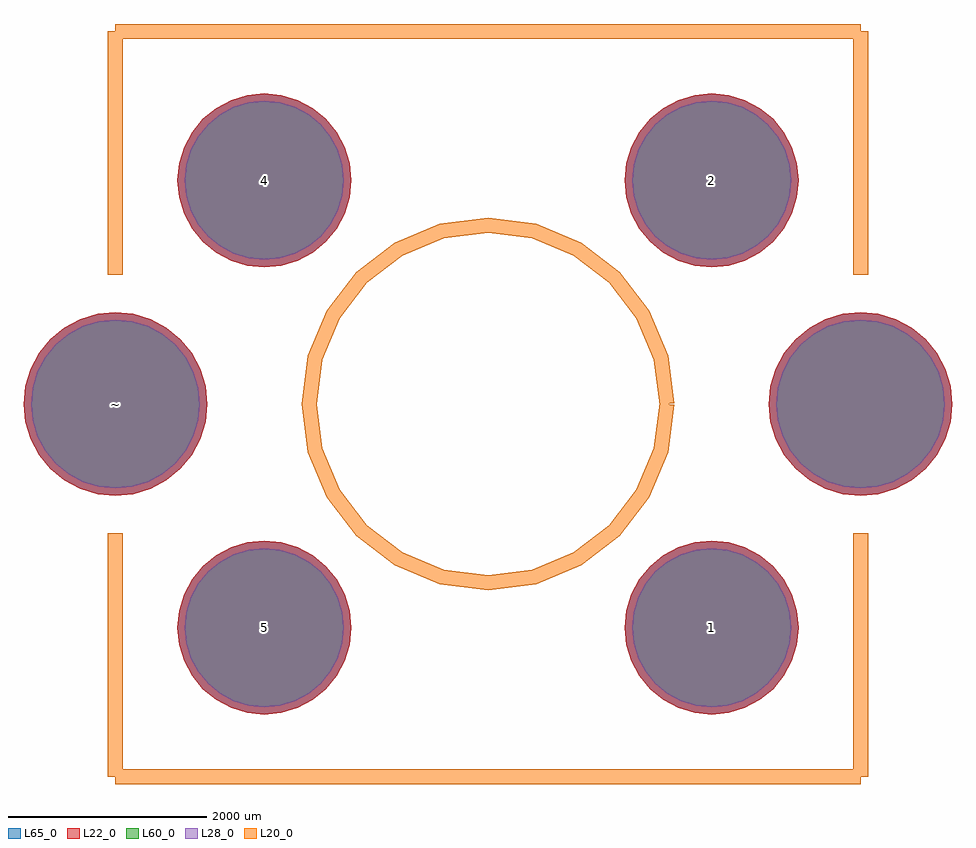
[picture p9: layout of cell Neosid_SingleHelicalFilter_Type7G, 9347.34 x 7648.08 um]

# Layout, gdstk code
import gdstk
lib = gdstk.Library(unit=1e-6, precision=1e-09)
def P(c, l, *ps):  # polygons
    for p in ps: c.add(gdstk.Polygon(p, *l))
L20_0 = (20, 0)
L22_0 = (22, 0)
L28_0 = (28, 0)
L60_0 = (60, 0)
L65_0 = (65, 0)

neosid_singlehelicalfilt = lib.new_cell('Neosid_SingleHelicalFilter_Type7G')
P(neosid_singlehelicalfilt, L22_0, [(4673.67,0),(4655.903,180.386),(4603.287,353.841),(4517.842,513.697),(4402.852,653.812),(4262.737,768.802),(4102.881,854.247),(3929.426,906.863),(3749.04,924.63),(3568.654,906.863),(3395.199,854.247),(3235.343,768.802),(3095.228,653.812),(2980.238,513.697),(2894.793,353.841),(2842.177,180.386),(2824.41,0),(2842.177,-180.386),(2894.793,-353.841),(2980.238,-513.697),(3095.228,-653.812),(3235.343,-768.802),(3395.199,-854.247),(3568.654,-906.863),(3749.04,-924.63),(3929.426,-906.863),(4102.881,-854.247),(4262.737,-768.802),(4402.852,-653.812),(4517.842,-513.697),(4603.287,-353.841),(4655.903,-180.386)],
  [(-2824.41,0),(-2842.177,180.386),(-2894.793,353.841),(-2980.238,513.697),(-3095.228,653.812),(-3235.343,768.802),(-3395.199,854.247),(-3568.654,906.863),(-3749.04,924.63),(-3929.426,906.863),(-4102.881,854.247),(-4262.737,768.802),(-4402.852,653.812),(-4517.842,513.697),(-4603.287,353.841),(-4655.903,180.386),(-4673.67,0),(-4655.903,-180.386),(-4603.287,-353.841),(-4517.842,-513.697),(-4402.852,-653.812),(-4262.737,-768.802),(-4102.881,-854.247),(-3929.426,-906.863),(-3749.04,-924.63),(-3568.654,-906.863),(-3395.199,-854.247),(-3235.343,-768.802),(-3095.228,-653.812),(-2980.238,-513.697),(-2894.793,-353.841),(-2842.177,-180.386)],
  [(3125.54,-2250.44),(3108.725,-2079.716),(3058.927,-1915.554),(2978.059,-1764.26),(2869.229,-1631.651),(2736.62,-1522.821),(2585.326,-1441.953),(2421.164,-1392.155),(2250.44,-1375.34),(2079.716,-1392.155),(1915.554,-1441.953),(1764.26,-1522.821),(1631.651,-1631.651),(1522.821,-1764.26),(1441.953,-1915.554),(1392.155,-2079.716),(1375.34,-2250.44),(1392.155,-2421.164),(1441.953,-2585.326),(1522.821,-2736.62),(1631.651,-2869.229),(1764.26,-2978.059),(1915.554,-3058.927),(2079.716,-3108.725),(2250.44,-3125.54),(2421.164,-3108.725),(2585.326,-3058.927),(2736.62,-2978.059),(2869.229,-2869.229),(2978.059,-2736.62),(3058.927,-2585.326),(3108.725,-2421.164)],
  [(-1375.34,-2250.44),(-1392.155,-2079.716),(-1441.953,-1915.554),(-1522.821,-1764.26),(-1631.651,-1631.651),(-1764.26,-1522.821),(-1915.554,-1441.953),(-2079.716,-1392.155),(-2250.44,-1375.34),(-2421.164,-1392.155),(-2585.326,-1441.953),(-2736.62,-1522.821),(-2869.229,-1631.651),(-2978.059,-1764.26),(-3058.927,-1915.554),(-3108.725,-2079.716),(-3125.54,-2250.44),(-3108.725,-2421.164),(-3058.927,-2585.326),(-2978.059,-2736.62),(-2869.229,-2869.229),(-2736.62,-2978.059),(-2585.326,-3058.927),(-2421.164,-3108.725),(-2250.44,-3125.54),(-2079.716,-3108.725),(-1915.554,-3058.927),(-1764.26,-2978.059),(-1631.651,-2869.229),(-1522.821,-2736.62),(-1441.953,-2585.326),(-1392.155,-2421.164)],
  [(-1375.34,2250.44),(-1392.155,2421.164),(-1441.953,2585.326),(-1522.821,2736.62),(-1631.651,2869.229),(-1764.26,2978.059),(-1915.554,3058.927),(-2079.716,3108.725),(-2250.44,3125.54),(-2421.164,3108.725),(-2585.326,3058.927),(-2736.62,2978.059),(-2869.229,2869.229),(-2978.059,2736.62),(-3058.927,2585.326),(-3108.725,2421.164),(-3125.54,2250.44),(-3108.725,2079.716),(-3058.927,1915.554),(-2978.059,1764.26),(-2869.229,1631.651),(-2736.62,1522.821),(-2585.326,1441.953),(-2421.164,1392.155),(-2250.44,1375.34),(-2079.716,1392.155),(-1915.554,1441.953),(-1764.26,1522.821),(-1631.651,1631.651),(-1522.821,1764.26),(-1441.953,1915.554),(-1392.155,2079.716)],
  [(3125.54,2250.44),(3108.725,2421.164),(3058.927,2585.326),(2978.059,2736.62),(2869.229,2869.229),(2736.62,2978.059),(2585.326,3058.927),(2421.164,3108.725),(2250.44,3125.54),(2079.716,3108.725),(1915.554,3058.927),(1764.26,2978.059),(1631.651,2869.229),(1522.821,2736.62),(1441.953,2585.326),(1392.155,2421.164),(1375.34,2250.44),(1392.155,2079.716),(1441.953,1915.554),(1522.821,1764.26),(1631.651,1631.651),(1764.26,1522.821),(1915.554,1441.953),(2079.716,1392.155),(2250.44,1375.34),(2421.164,1392.155),(2585.326,1441.953),(2736.62,1522.821),(2869.229,1631.651),(2978.059,1764.26),(3058.927,1915.554),(3108.725,2079.716)])
P(neosid_singlehelicalfilt, L28_0, [(4598.67,0),(4582.345,165.755),(4533.996,325.139),(4455.482,472.029),(4349.819,600.779),(4221.069,706.442),(4074.179,784.956),(3914.795,833.305),(3749.04,849.63),(3583.285,833.305),(3423.901,784.956),(3277.011,706.442),(3148.261,600.779),(3042.598,472.029),(2964.084,325.139),(2915.735,165.755),(2899.41,0),(2915.735,-165.755),(2964.084,-325.139),(3042.598,-472.029),(3148.261,-600.779),(3277.011,-706.442),(3423.901,-784.956),(3583.285,-833.305),(3749.04,-849.63),(3914.795,-833.305),(4074.179,-784.956),(4221.069,-706.442),(4349.819,-600.779),(4455.482,-472.029),(4533.996,-325.139),(4582.345,-165.755)],
  [(-2899.41,0),(-2915.735,165.755),(-2964.084,325.139),(-3042.598,472.029),(-3148.261,600.779),(-3277.011,706.442),(-3423.901,784.956),(-3583.285,833.305),(-3749.04,849.63),(-3914.795,833.305),(-4074.179,784.956),(-4221.069,706.442),(-4349.819,600.779),(-4455.482,472.029),(-4533.996,325.139),(-4582.345,165.755),(-4598.67,0),(-4582.345,-165.755),(-4533.996,-325.139),(-4455.482,-472.029),(-4349.819,-600.779),(-4221.069,-706.442),(-4074.179,-784.956),(-3914.795,-833.305),(-3749.04,-849.63),(-3583.285,-833.305),(-3423.901,-784.956),(-3277.011,-706.442),(-3148.261,-600.779),(-3042.598,-472.029),(-2964.084,-325.139),(-2915.735,-165.755)],
  [(3050.54,-2250.44),(3035.166,-2094.348),(2989.636,-1944.255),(2915.699,-1805.928),(2816.196,-1684.684),(2694.952,-1585.181),(2556.625,-1511.244),(2406.532,-1465.714),(2250.44,-1450.34),(2094.348,-1465.714),(1944.255,-1511.244),(1805.928,-1585.181),(1684.684,-1684.684),(1585.181,-1805.928),(1511.244,-1944.255),(1465.714,-2094.348),(1450.34,-2250.44),(1465.714,-2406.532),(1511.244,-2556.625),(1585.181,-2694.952),(1684.684,-2816.196),(1805.928,-2915.699),(1944.255,-2989.636),(2094.348,-3035.166),(2250.44,-3050.54),(2406.532,-3035.166),(2556.625,-2989.636),(2694.952,-2915.699),(2816.196,-2816.196),(2915.699,-2694.952),(2989.636,-2556.625),(3035.166,-2406.532)],
  [(-1450.34,-2250.44),(-1465.714,-2094.348),(-1511.244,-1944.255),(-1585.181,-1805.928),(-1684.684,-1684.684),(-1805.928,-1585.181),(-1944.255,-1511.244),(-2094.348,-1465.714),(-2250.44,-1450.34),(-2406.532,-1465.714),(-2556.625,-1511.244),(-2694.952,-1585.181),(-2816.196,-1684.684),(-2915.699,-1805.928),(-2989.636,-1944.255),(-3035.166,-2094.348),(-3050.54,-2250.44),(-3035.166,-2406.532),(-2989.636,-2556.625),(-2915.699,-2694.952),(-2816.196,-2816.196),(-2694.952,-2915.699),(-2556.625,-2989.636),(-2406.532,-3035.166),(-2250.44,-3050.54),(-2094.348,-3035.166),(-1944.255,-2989.636),(-1805.928,-2915.699),(-1684.684,-2816.196),(-1585.181,-2694.952),(-1511.244,-2556.625),(-1465.714,-2406.532)],
  [(-1450.34,2250.44),(-1465.714,2406.532),(-1511.244,2556.625),(-1585.181,2694.952),(-1684.684,2816.196),(-1805.928,2915.699),(-1944.255,2989.636),(-2094.348,3035.166),(-2250.44,3050.54),(-2406.532,3035.166),(-2556.625,2989.636),(-2694.952,2915.699),(-2816.196,2816.196),(-2915.699,2694.952),(-2989.636,2556.625),(-3035.166,2406.532),(-3050.54,2250.44),(-3035.166,2094.348),(-2989.636,1944.255),(-2915.699,1805.928),(-2816.196,1684.684),(-2694.952,1585.181),(-2556.625,1511.244),(-2406.532,1465.714),(-2250.44,1450.34),(-2094.348,1465.714),(-1944.255,1511.244),(-1805.928,1585.181),(-1684.684,1684.684),(-1585.181,1805.928),(-1511.244,1944.255),(-1465.714,2094.348)],
  [(3050.54,2250.44),(3035.166,2406.532),(2989.636,2556.625),(2915.699,2694.952),(2816.196,2816.196),(2694.952,2915.699),(2556.625,2989.636),(2406.532,3035.166),(2250.44,3050.54),(2094.348,3035.166),(1944.255,2989.636),(1805.928,2915.699),(1684.684,2816.196),(1585.181,2694.952),(1511.244,2556.625),(1465.714,2406.532),(1450.34,2250.44),(1465.714,2094.348),(1511.244,1944.255),(1585.181,1805.928),(1684.684,1684.684),(1805.928,1585.181),(1944.255,1511.244),(2094.348,1465.714),(2250.44,1450.34),(2406.532,1465.714),(2556.625,1511.244),(2694.952,1585.181),(2816.196,1684.684),(2915.699,1805.928),(2989.636,1944.255),(3035.166,2094.348)])
P(neosid_singlehelicalfilt, L60_0, [(4598.67,0),(4582.345,165.755),(4533.996,325.139),(4455.482,472.029),(4349.819,600.779),(4221.069,706.442),(4074.179,784.956),(3914.795,833.305),(3749.04,849.63),(3583.285,833.305),(3423.901,784.956),(3277.011,706.442),(3148.261,600.779),(3042.598,472.029),(2964.084,325.139),(2915.735,165.755),(2899.41,0),(2915.735,-165.755),(2964.084,-325.139),(3042.598,-472.029),(3148.261,-600.779),(3277.011,-706.442),(3423.901,-784.956),(3583.285,-833.305),(3749.04,-849.63),(3914.795,-833.305),(4074.179,-784.956),(4221.069,-706.442),(4349.819,-600.779),(4455.482,-472.029),(4533.996,-325.139),(4582.345,-165.755)],
  [(-2899.41,0),(-2915.735,165.755),(-2964.084,325.139),(-3042.598,472.029),(-3148.261,600.779),(-3277.011,706.442),(-3423.901,784.956),(-3583.285,833.305),(-3749.04,849.63),(-3914.795,833.305),(-4074.179,784.956),(-4221.069,706.442),(-4349.819,600.779),(-4455.482,472.029),(-4533.996,325.139),(-4582.345,165.755),(-4598.67,0),(-4582.345,-165.755),(-4533.996,-325.139),(-4455.482,-472.029),(-4349.819,-600.779),(-4221.069,-706.442),(-4074.179,-784.956),(-3914.795,-833.305),(-3749.04,-849.63),(-3583.285,-833.305),(-3423.901,-784.956),(-3277.011,-706.442),(-3148.261,-600.779),(-3042.598,-472.029),(-2964.084,-325.139),(-2915.735,-165.755)],
  [(3050.54,-2250.44),(3035.166,-2094.348),(2989.636,-1944.255),(2915.699,-1805.928),(2816.196,-1684.684),(2694.952,-1585.181),(2556.625,-1511.244),(2406.532,-1465.714),(2250.44,-1450.34),(2094.348,-1465.714),(1944.255,-1511.244),(1805.928,-1585.181),(1684.684,-1684.684),(1585.181,-1805.928),(1511.244,-1944.255),(1465.714,-2094.348),(1450.34,-2250.44),(1465.714,-2406.532),(1511.244,-2556.625),(1585.181,-2694.952),(1684.684,-2816.196),(1805.928,-2915.699),(1944.255,-2989.636),(2094.348,-3035.166),(2250.44,-3050.54),(2406.532,-3035.166),(2556.625,-2989.636),(2694.952,-2915.699),(2816.196,-2816.196),(2915.699,-2694.952),(2989.636,-2556.625),(3035.166,-2406.532)],
  [(-1450.34,-2250.44),(-1465.714,-2094.348),(-1511.244,-1944.255),(-1585.181,-1805.928),(-1684.684,-1684.684),(-1805.928,-1585.181),(-1944.255,-1511.244),(-2094.348,-1465.714),(-2250.44,-1450.34),(-2406.532,-1465.714),(-2556.625,-1511.244),(-2694.952,-1585.181),(-2816.196,-1684.684),(-2915.699,-1805.928),(-2989.636,-1944.255),(-3035.166,-2094.348),(-3050.54,-2250.44),(-3035.166,-2406.532),(-2989.636,-2556.625),(-2915.699,-2694.952),(-2816.196,-2816.196),(-2694.952,-2915.699),(-2556.625,-2989.636),(-2406.532,-3035.166),(-2250.44,-3050.54),(-2094.348,-3035.166),(-1944.255,-2989.636),(-1805.928,-2915.699),(-1684.684,-2816.196),(-1585.181,-2694.952),(-1511.244,-2556.625),(-1465.714,-2406.532)],
  [(-1450.34,2250.44),(-1465.714,2406.532),(-1511.244,2556.625),(-1585.181,2694.952),(-1684.684,2816.196),(-1805.928,2915.699),(-1944.255,2989.636),(-2094.348,3035.166),(-2250.44,3050.54),(-2406.532,3035.166),(-2556.625,2989.636),(-2694.952,2915.699),(-2816.196,2816.196),(-2915.699,2694.952),(-2989.636,2556.625),(-3035.166,2406.532),(-3050.54,2250.44),(-3035.166,2094.348),(-2989.636,1944.255),(-2915.699,1805.928),(-2816.196,1684.684),(-2694.952,1585.181),(-2556.625,1511.244),(-2406.532,1465.714),(-2250.44,1450.34),(-2094.348,1465.714),(-1944.255,1511.244),(-1805.928,1585.181),(-1684.684,1684.684),(-1585.181,1805.928),(-1511.244,1944.255),(-1465.714,2094.348)],
  [(3050.54,2250.44),(3035.166,2406.532),(2989.636,2556.625),(2915.699,2694.952),(2816.196,2816.196),(2694.952,2915.699),(2556.625,2989.636),(2406.532,3035.166),(2250.44,3050.54),(2094.348,3035.166),(1944.255,2989.636),(1805.928,2915.699),(1684.684,2816.196),(1585.181,2694.952),(1511.244,2556.625),(1465.714,2406.532),(1450.34,2250.44),(1465.714,2094.348),(1511.244,1944.255),(1585.181,1805.928),(1684.684,1684.684),(1805.928,1585.181),(1944.255,1511.244),(2094.348,1465.714),(2250.44,1450.34),(2406.532,1465.714),(2556.625,1511.244),(2694.952,1585.181),(2816.196,1684.684),(2915.699,1805.928),(2989.636,1944.255),(3035.166,2094.348)])
P(neosid_singlehelicalfilt, L65_0, [(4673.67,0),(4655.903,180.386),(4603.287,353.841),(4517.842,513.697),(4402.852,653.812),(4262.737,768.802),(4102.881,854.247),(3929.426,906.863),(3749.04,924.63),(3568.654,906.863),(3395.199,854.247),(3235.343,768.802),(3095.228,653.812),(2980.238,513.697),(2894.793,353.841),(2842.177,180.386),(2824.41,0),(2842.177,-180.386),(2894.793,-353.841),(2980.238,-513.697),(3095.228,-653.812),(3235.343,-768.802),(3395.199,-854.247),(3568.654,-906.863),(3749.04,-924.63),(3929.426,-906.863),(4102.881,-854.247),(4262.737,-768.802),(4402.852,-653.812),(4517.842,-513.697),(4603.287,-353.841),(4655.903,-180.386)],
  [(-2824.41,0),(-2842.177,180.386),(-2894.793,353.841),(-2980.238,513.697),(-3095.228,653.812),(-3235.343,768.802),(-3395.199,854.247),(-3568.654,906.863),(-3749.04,924.63),(-3929.426,906.863),(-4102.881,854.247),(-4262.737,768.802),(-4402.852,653.812),(-4517.842,513.697),(-4603.287,353.841),(-4655.903,180.386),(-4673.67,0),(-4655.903,-180.386),(-4603.287,-353.841),(-4517.842,-513.697),(-4402.852,-653.812),(-4262.737,-768.802),(-4102.881,-854.247),(-3929.426,-906.863),(-3749.04,-924.63),(-3568.654,-906.863),(-3395.199,-854.247),(-3235.343,-768.802),(-3095.228,-653.812),(-2980.238,-513.697),(-2894.793,-353.841),(-2842.177,-180.386)],
  [(3125.54,-2250.44),(3108.725,-2079.716),(3058.927,-1915.554),(2978.059,-1764.26),(2869.229,-1631.651),(2736.62,-1522.821),(2585.326,-1441.953),(2421.164,-1392.155),(2250.44,-1375.34),(2079.716,-1392.155),(1915.554,-1441.953),(1764.26,-1522.821),(1631.651,-1631.651),(1522.821,-1764.26),(1441.953,-1915.554),(1392.155,-2079.716),(1375.34,-2250.44),(1392.155,-2421.164),(1441.953,-2585.326),(1522.821,-2736.62),(1631.651,-2869.229),(1764.26,-2978.059),(1915.554,-3058.927),(2079.716,-3108.725),(2250.44,-3125.54),(2421.164,-3108.725),(2585.326,-3058.927),(2736.62,-2978.059),(2869.229,-2869.229),(2978.059,-2736.62),(3058.927,-2585.326),(3108.725,-2421.164)],
  [(-1375.34,-2250.44),(-1392.155,-2079.716),(-1441.953,-1915.554),(-1522.821,-1764.26),(-1631.651,-1631.651),(-1764.26,-1522.821),(-1915.554,-1441.953),(-2079.716,-1392.155),(-2250.44,-1375.34),(-2421.164,-1392.155),(-2585.326,-1441.953),(-2736.62,-1522.821),(-2869.229,-1631.651),(-2978.059,-1764.26),(-3058.927,-1915.554),(-3108.725,-2079.716),(-3125.54,-2250.44),(-3108.725,-2421.164),(-3058.927,-2585.326),(-2978.059,-2736.62),(-2869.229,-2869.229),(-2736.62,-2978.059),(-2585.326,-3058.927),(-2421.164,-3108.725),(-2250.44,-3125.54),(-2079.716,-3108.725),(-1915.554,-3058.927),(-1764.26,-2978.059),(-1631.651,-2869.229),(-1522.821,-2736.62),(-1441.953,-2585.326),(-1392.155,-2421.164)],
  [(-1375.34,2250.44),(-1392.155,2421.164),(-1441.953,2585.326),(-1522.821,2736.62),(-1631.651,2869.229),(-1764.26,2978.059),(-1915.554,3058.927),(-2079.716,3108.725),(-2250.44,3125.54),(-2421.164,3108.725),(-2585.326,3058.927),(-2736.62,2978.059),(-2869.229,2869.229),(-2978.059,2736.62),(-3058.927,2585.326),(-3108.725,2421.164),(-3125.54,2250.44),(-3108.725,2079.716),(-3058.927,1915.554),(-2978.059,1764.26),(-2869.229,1631.651),(-2736.62,1522.821),(-2585.326,1441.953),(-2421.164,1392.155),(-2250.44,1375.34),(-2079.716,1392.155),(-1915.554,1441.953),(-1764.26,1522.821),(-1631.651,1631.651),(-1522.821,1764.26),(-1441.953,1915.554),(-1392.155,2079.716)],
  [(3125.54,2250.44),(3108.725,2421.164),(3058.927,2585.326),(2978.059,2736.62),(2869.229,2869.229),(2736.62,2978.059),(2585.326,3058.927),(2421.164,3108.725),(2250.44,3125.54),(2079.716,3108.725),(1915.554,3058.927),(1764.26,2978.059),(1631.651,2869.229),(1522.821,2736.62),(1441.953,2585.326),(1392.155,2421.164),(1375.34,2250.44),(1392.155,2079.716),(1441.953,1915.554),(1522.821,1764.26),(1631.651,1631.651),(1764.26,1522.821),(1915.554,1441.953),(2079.716,1392.155),(2250.44,1375.34),(2421.164,1392.155),(2585.326,1441.953),(2736.62,1522.821),(2869.229,1631.651),(2978.059,1764.26),(3058.927,1915.554),(3108.725,2079.716)])
neosid_singlehelicalfilt.add(gdstk.FlexPath([(-3749.04,3749.04),(-3749.04,1300.48)], 149.998, ends="flush", simple_path=True, layer=20, datatype=0))  # L20_0
neosid_singlehelicalfilt.add(gdstk.FlexPath([(3749.04,3749.04),(-3749.04,3749.04)], 149.998, ends="flush", simple_path=True, layer=20, datatype=0))  # L20_0
neosid_singlehelicalfilt.add(gdstk.FlexPath([(3749.04,1300.48),(3749.04,3749.04)], 149.998, ends="flush", simple_path=True, layer=20, datatype=0))  # L20_0
neosid_singlehelicalfilt.add(gdstk.FlexPath([(3749.04,-3749.04),(3749.04,-1300.48)], 149.998, ends="flush", simple_path=True, layer=20, datatype=0))  # L20_0
neosid_singlehelicalfilt.add(gdstk.FlexPath([(-3749.04,-3749.04),(3749.04,-3749.04)], 149.998, ends="flush", simple_path=True, layer=20, datatype=0))  # L20_0
neosid_singlehelicalfilt.add(gdstk.FlexPath([(-3749.04,-1300.48),(-3749.04,-3749.04)], 149.998, ends="flush", simple_path=True, layer=20, datatype=0))  # L20_0
neosid_singlehelicalfilt.add(gdstk.FlexPath([(1800.86,0),(1739.497,466.097),(1559.591,900.43),(1273.4,1273.4),(900.43,1559.591),(466.097,1739.497),(0,1800.86),(-466.097,1739.497),(-900.43,1559.591),(-1273.4,1273.4),(-1559.591,900.43),(-1739.497,466.097),(-1800.86,0),(-1739.497,-466.097),(-1559.591,-900.43),(-1273.4,-1273.4),(-900.43,-1559.591),(-466.097,-1739.497),(0,-1800.86),(466.097,-1739.497),(900.43,-1559.591),(1273.4,-1273.4),(1559.591,-900.43),(1739.497,-466.097),(1800.86,0)], 149.998, ends="flush", simple_path=True, layer=20, datatype=0))  # L20_0
neosid_singlehelicalfilt.add(gdstk.Label('~', (-3749.04,0), layer=28, texttype=0))
neosid_singlehelicalfilt.add(gdstk.Label('1', (2250.44,-2250.44), layer=28, texttype=0))
neosid_singlehelicalfilt.add(gdstk.Label('5', (-2250.44,-2250.44), layer=28, texttype=0))
neosid_singlehelicalfilt.add(gdstk.Label('4', (-2250.44,2250.44), layer=28, texttype=0))
neosid_singlehelicalfilt.add(gdstk.Label('2', (2250.44,2250.44), layer=28, texttype=0))
neosid_singlehelicalfilt.add(gdstk.Label('type', (-99.06,-5450.84), layer=9, texttype=0))
neosid_singlehelicalfilt.add(gdstk.Label('devicename', (0,5699.76), layer=9, texttype=0))

lib.write_gds('Neosid_SingleHelicalFilter_Type7G.gds')
